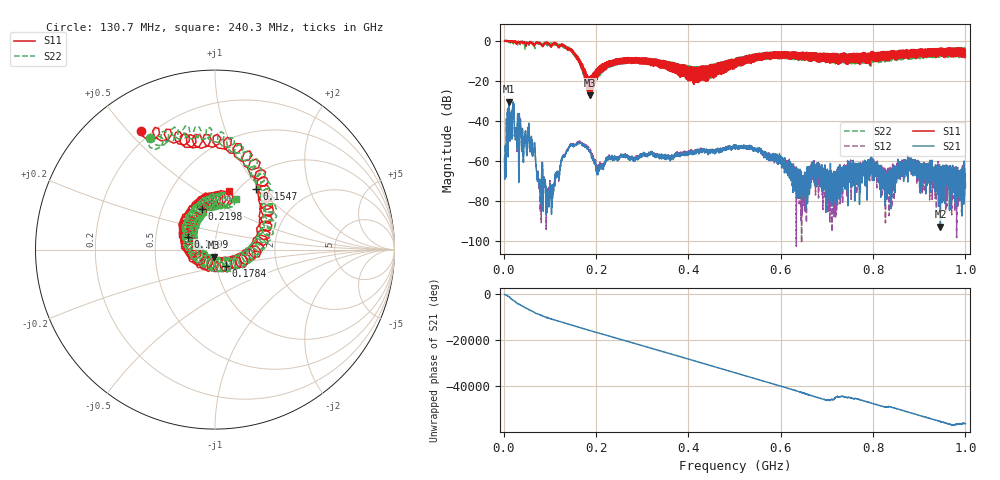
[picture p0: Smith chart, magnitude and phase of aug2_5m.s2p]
!Keysight Technologies N9923A: A.12.45
!Date: Saturday, 02 August 2025 18:37:53
!Timezone: (UTC+08:00) Kuala Lumpur, Singapore
!Model: N9923A
!Serial: MY61181427
!GPS Latitude:
!GPS Longitude:
!GPS TimeStamp: 0001-01-01 00:00:00Z
!GPS Seconds Since Last Read: 0
!CHECKSUM:0039627938
!Correction: S11(ON U)S21(ON U)S12(ON U)S22(ON U)
!S2P File: Measurements:S11,S21,S12,S22:
# Hz S DB R 50
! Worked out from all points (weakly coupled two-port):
!   4001 points, 2 MHz to 1 GHz, reference 50 ohm
!   highest |S21| = -30.47 dB at 11.73 MHz (marker M1); lowest = -92.9 dB at 945.9 MHz (marker M2)
!   lowest |S11| = -27.3 dB at 186.1 MHz (marker M3), VSWR 1.09, Z = 49.2 - j4.2 ohm
!   |S11| at or under -10 dB: 165.7 MHz to 230.2 MHz (64.52 MHz wide, 32.6 % of centre); 339.4 MHz to 346 MHz (6.568 MHz wide, 1.92 % of centre); 346.1 MHz to 484.8 MHz (138.6 MHz wide, 33.4 % of centre) (the widest 3 of 192)
!   |S22| runs from -28.5 to 0.1 dB; largest |S21 - S12| = 0.0035
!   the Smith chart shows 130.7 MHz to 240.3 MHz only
!   S11 on the Smith chart (normalised r, x): 130.7 MHz: 0.16, +0.54; 154.7 MHz: 1.18, +0.96; 178.4 MHz: 1.11, -0.21; 199.9 MHz: 0.73, +0.11; 219.8 MHz: 0.79, +0.38; 240.3 MHz: 0.92, +0.68
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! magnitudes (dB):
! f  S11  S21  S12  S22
! 2 MHz  -0.1  -58.8  -58.5  -0.1
! 11.73 MHz  -0.5  -30.5  -30.4  -0.3
! 56.89 MHz  -0.5  -54.9  -54.7  -0.4
! 76.6 MHz  -1.2  -72.5  -70.0  -1.1
! 95.06 MHz  -1.3  -78.8  -76.6  -2.5
! 130.7 MHz  -2.2  -57.7  -57.4  -2.9
! 154.7 MHz  -7.8  -52.3  -51.8  -7.5
! 168.4 MHz  -13.1  -51.4  -50.5  -13.9
! 178.4 MHz  -19.0  -53.1  -52.4  -20.9
! 186.1 MHz  -27.3  -55.6  -54.1  -23.2
! 199.9 MHz  -15.5  -64.7  -63.0  -18.2
! 219.8 MHz  -12.5  -61.7  -61.4  -14.1
! 240.3 MHz  -9.4  -57.6  -58.4  -10.3
! 334.8 MHz  -11.8  -57.1  -56.8  -10.1
! 501 MHz  -11.9  -53.7  -52.8  -12.0
! 593.8 MHz  -5.7  -61.7  -58.9  -8.3
! 648.7 MHz  -7.9  -70.5  -72.2  -7.8
! 667.4 MHz  -7.0  -61.6  -69.9  -9.5
! 833.8 MHz  -6.8  -65.9  -68.0  -7.5
! 880.7 MHz  -6.8  -65.3  -60.7  -5.3
! 945.9 MHz  -7.3  -92.9  -63.5  -4.4
! 1 GHz  -6.9  -70.8  -73.6  -3.6
